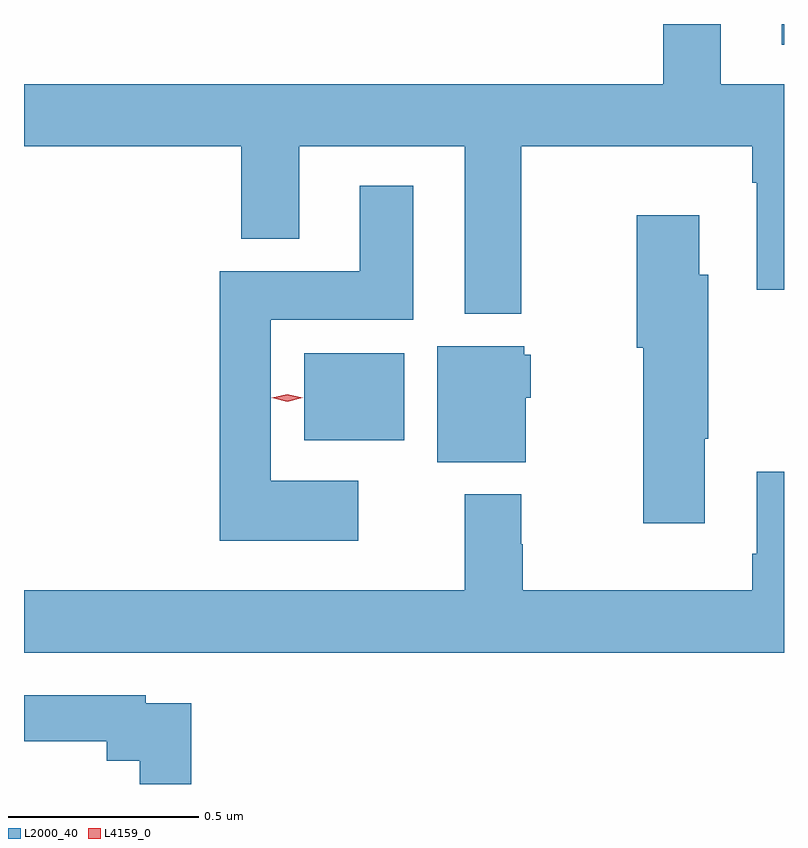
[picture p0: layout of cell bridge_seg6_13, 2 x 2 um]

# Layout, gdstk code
import gdstk
lib = gdstk.Library(unit=1e-6, precision=1e-09)
def R(c, l, rs):  # rectangles x0, y0, x1, y1
    for r in rs: c.add(gdstk.rectangle(r[:2], r[2:], *l))
def P(c, l, *ps):  # polygons
    for p in ps: c.add(gdstk.Polygon(p, *l))
L2000_40 = (2000, 40)
L4159_0 = (4159, 0)

bridge_seg6_13 = lib.new_cell('bridge_seg6_13')
R(bridge_seg6_13, L2000_40, [(913.046,985.19,913.309,985.42), (914.303,986.232,914.309,986.286)])
P(bridge_seg6_13, L2000_40, [(913.617,985.964),(914.225,985.964),(914.225,985.868),(914.237,985.868),(914.237,985.587),(914.309,985.587),(914.309,986.128),(914.143,986.128),(914.143,986.286),(913.991,986.286),(913.991,986.128),(912.309,986.128),(912.309,985.964),(912.881,985.964),(912.881,985.721),(913.033,985.721),(913.033,985.964),(913.469,985.964),(913.469,985.523),(913.617,985.523)],
  [(913.189,985.084),(912.958,985.084),(912.958,985.508),(913.333,985.508),(913.333,985.861),(913.193,985.861),(913.193,985.636),(912.824,985.636),(912.824,984.926),(913.189,984.926)],
  [(914.101,985.195),(914.109,985.195),(914.109,985.626),(914.086,985.626),(914.086,985.783),(913.921,985.783),(913.921,985.434),(913.939,985.434),(913.939,984.972),(914.101,984.972)],
  [(913.63,985.302),(913.642,985.302),(913.642,985.416),(913.626,985.416),(913.626,985.438),(913.397,985.438),(913.397,985.133),(913.63,985.133)],
  [(914.309,985.108),(914.237,985.108),(914.237,984.892),(914.225,984.892),(914.225,984.796),(913.622,984.796),(913.622,984.917),(913.617,984.917),(913.617,985.048),(913.469,985.048),(913.469,984.796),(912.309,984.796),(912.309,984.632),(914.309,984.632)],
  [(912.749,984.499),(912.63,984.499),(912.63,984.52),(912.309,984.52),(912.309,984.398),(912.527,984.398),(912.527,984.347),(912.614,984.347),(912.614,984.286),(912.749,984.286)])
P(bridge_seg6_13, L4159_0, [(913.002,985.292),(912.961,985.302),(912.961,985.302),(912.961,985.302),(913.002,985.312),(913.042,985.302),(913.042,985.302),(913.042,985.302)])

lib.write_gds('bridge_seg6_13.gds')
